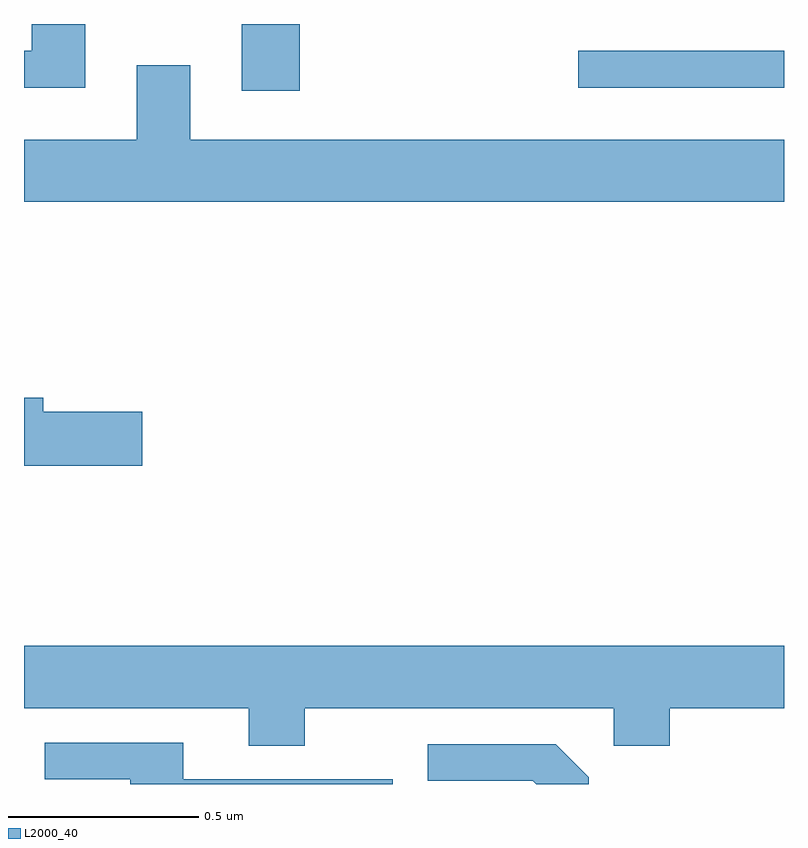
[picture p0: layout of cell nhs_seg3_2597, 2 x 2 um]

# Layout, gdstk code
import gdstk
lib = gdstk.Library(unit=1e-6, precision=1e-09)
def R(c, l, rs):  # rectangles x0, y0, x1, y1
    for r in rs: c.add(gdstk.rectangle(r[:2], r[2:], *l))
def P(c, l, *ps):  # polygons
    for p in ps: c.add(gdstk.Polygon(p, *l))
L2000_40 = (2000, 40)

nhs_seg3_2597 = lib.new_cell('nhs_seg3_2597')
R(nhs_seg3_2597, L2000_40, [(143.573,685.224,143.726,685.4), (144.459,685.232,145,685.329)])
P(nhs_seg3_2597, L2000_40, [(143.161,685.4),(143.021,685.4),(143.021,685.329),(143,685.329),(143,685.232),(143.161,685.232)],
  [(145,685.096),(143.437,685.096),(143.437,685.291),(143.297,685.291),(143.297,685.096),(143,685.096),(143,684.932),(145,684.932)],
  [(143.311,684.38),(143.05,684.38),(143.05,684.416),(143,684.416),(143,684.238),(143.311,684.238)],
  [(143.739,683.6),(144.552,683.6),(144.552,683.501),(144.699,683.501),(144.699,683.6),(145,683.6),(145,683.764),(143,683.764),(143,683.6),(143.591,683.6),(143.591,683.501),(143.739,683.501)],
  [(143.97,683.412),(143.419,683.412),(143.419,683.508),(143.055,683.508),(143.055,683.412),(143.279,683.412),(143.279,683.4),(143.97,683.4)],
  [(144.486,683.418),(144.399,683.505),(144.063,683.505),(144.063,683.409),(144.339,683.409),(144.348,683.4),(144.486,683.4)])

lib.write_gds('nhs_seg3_2597.gds')
